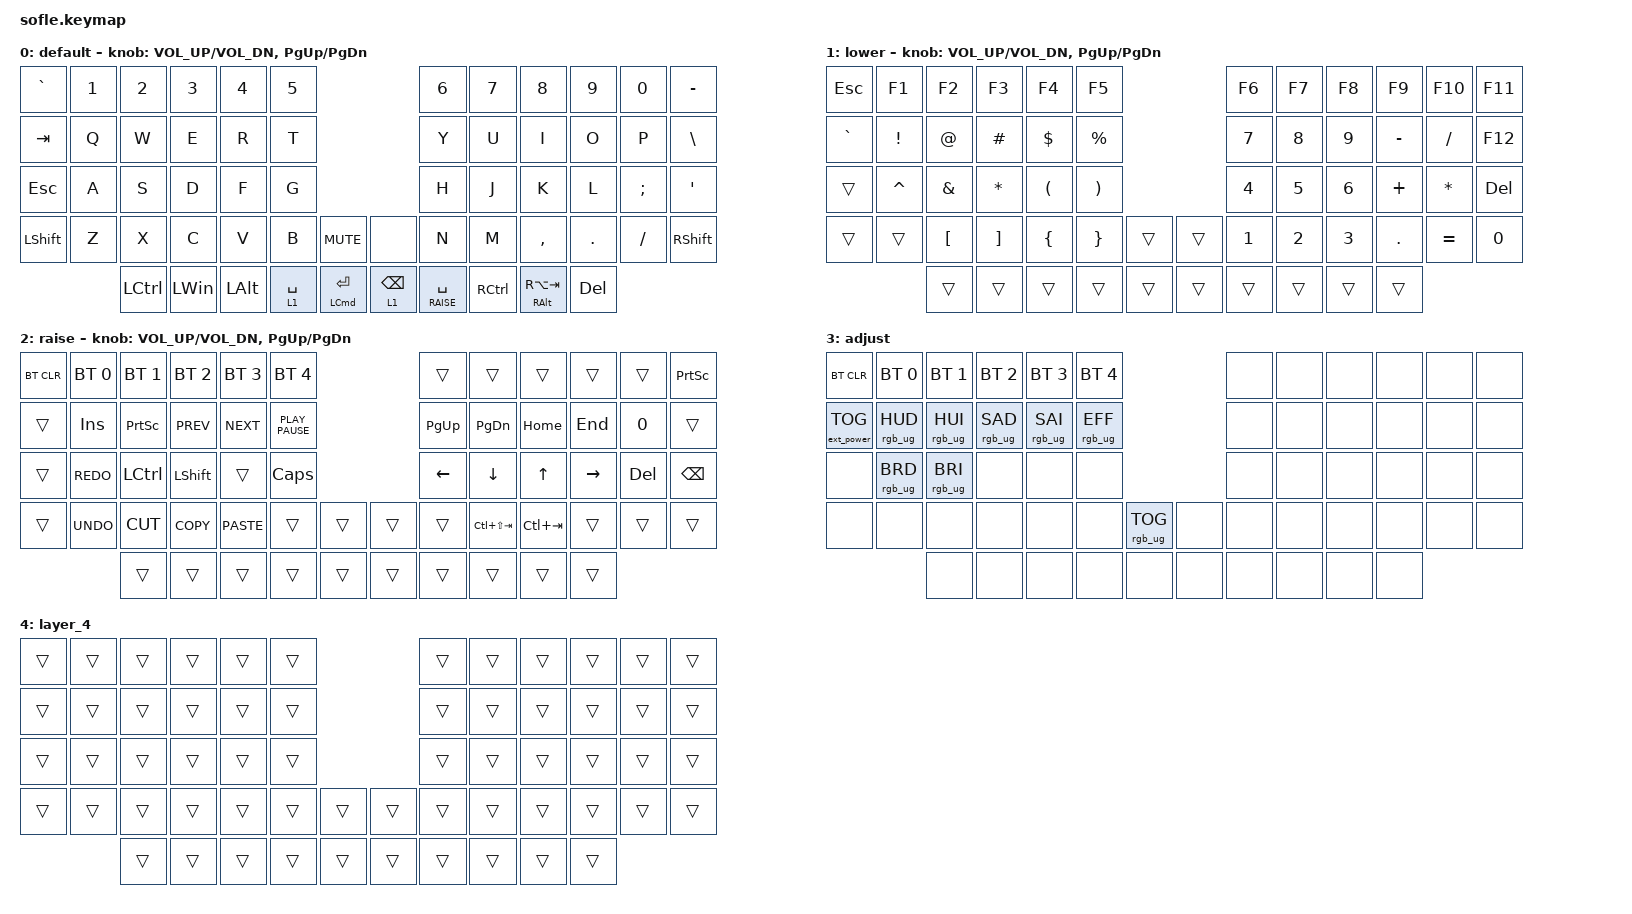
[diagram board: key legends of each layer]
/*
 * Copyright (c) 2020 The ZMK Contributors
 *
 * SPDX-License-Identifier: MIT
 */

#include <behaviors.dtsi>
#include <dt-bindings/zmk/bt.h>
#include <dt-bindings/zmk/ext_power.h>
#include <dt-bindings/zmk/keys.h>
#include <dt-bindings/zmk/rgb.h>

#define BASE 0
#define LOWER 1
#define RAISE 2
#define ADJUST 3

/ {
    // Activate ADJUST layer by pressing raise and lower

    conditional_layers {
        compatible = "zmk,conditional-layers";

        adjust_layer {
            if-layers = <LOWER RAISE>;
            then-layer = <ADJUST>;
        };
    };

    behaviors {
        HoldTap: HoldTap {
            compatible = "zmk,behavior-hold-tap";
            label = "HOLDTAP";
            bindings = <&kp>, <&kp>;

            #binding-cells = <2>;
            tapping-term-ms = <200>;
            flavor = "tap-preferred";
        };

        ToggleTap: ToggleTap {
            compatible = "zmk,behavior-hold-tap";
            label = "TOGGLETAP";
            bindings = <&mo>, <&kp>;

            #binding-cells = <2>;
            tapping-term-ms = <200>;
            flavor = "tap-preferred";
        };
    };

    keymap {
        compatible = "zmk,keymap";

        default_layer {
            label = "default";

            // ------------------------------------------------------------------------------------------------------------
            // |   `   |  1  |  2  |  3   |  4   |  5   |                   |  6   |  7    |  8    |  9   |   0   |       |
            // |  ESC  |  Q  |  W  |  E   |  R   |  T   |                   |  Y   |  U    |  I    |  O   |   P   | BKSPC |
            // |  TAB  |  A  |  S  |  D   |  F   |  G   |                   |  H   |  J    |  K    |  L   |   ;   |   '   |
            // | SHIFT |  Z  |  X  |  C   |  V   |  B   |  MUTE  |  |       |  N   |  M    |  ,    |  .   |   /   | SHIFT |
            //               | GUI | ALT  | CTRL | LOWER|  ENTER |  | SPACE | RAISE| CTRL  | ALT   | GUI  |

            bindings = <
&kp GRAVE  &kp N1  &kp N2            &kp N3        &kp N4        &kp N5                                                             &kp N6                  &kp N7     &kp N8                      &kp N9      &kp N0    &kp MINUS
&kp TAB    &kp Q   &kp W             &kp E         &kp R         &kp T                                                              &kp Y                   &kp U      &kp I                       &kp O       &kp P     &kp BACKSLASH
&kp ESC    &kp A   &kp S             &kp D         &kp F         &kp G                                                              &kp H                   &kp J      &kp K                       &kp L       &kp SEMI  &kp SQT
&kp LSHFT  &kp Z   &kp X             &kp C         &kp V         &kp B               &kp C_MUTE             &none                   &kp N                   &kp M      &kp COMMA                   &kp DOT     &kp FSLH  &kp RIGHT_SHIFT
                   &kp LEFT_CONTROL  &kp LEFT_WIN  &kp LEFT_ALT  &ToggleTap 1 SPACE  &HoldTap LCMD ENTER    &ToggleTap 1 BACKSPACE  &ToggleTap RAISE SPACE  &kp RCTRL  &HoldTap RIGHT_ALT RA(TAB)  &kp DELETE
            >;

            sensor-bindings = <&inc_dec_kp C_VOL_UP C_VOL_DN &inc_dec_kp PG_UP PG_DN>;
        };

        lower_layer {
            label = "lower";

            // TODO: Some binds are waiting for shifted keycode support.
            // ------------------------------------------------------------------------------------------------------------
            // |       |  F1 |  F2 |  F3  |  F4  |  F5  |                   |  F6  |  F7   |  F8   |  F9  |  F10  |  F11  |
            // |   `   |  1  |  2  |  3   |  4   |  5   |                   |  6   |  7    |  8    |  9   |   0   |  F12  |
            // |       |  !  |  @  |  #   |  $   |  %   |                   |  ^   |  &    |  *    |  (   |   )   |   |   |
            // |       |  =  |  -  |  +   |  {   |  }   |        |  |       |  [   |  ]    |  ;    |  :   |   \   |       |
            //               |     |      |      |      |        |  |       |      |       |       |      |

            bindings = <
&kp ESCAPE  &kp F1           &kp F2            &kp F3             &kp F4                &kp F5                                   &kp F6        &kp F7        &kp F8        &kp F9      &kp F10       &kp F11
&kp GRAVE   &kp EXCLAMATION  &kp AT_SIGN       &kp POUND          &kp DOLLAR            &kp PERCENT                              &kp N7        &kp N8        &kp N9        &kp MINUS   &kp SLASH     &kp F12
&trans      &kp CARET        &kp AMPS          &kp STAR           &kp LEFT_PARENTHESIS  &kp RIGHT_PARENTHESIS                    &kp NUMBER_4  &kp N5        &kp NUMBER_6  &kp PLUS    &kp ASTERISK  &kp DELETE
&trans      &trans           &kp LEFT_BRACKET  &kp RIGHT_BRACKET  &kp LBRC              &kp RBRC               &trans    &trans  &kp NUMBER_1  &kp NUMBER_2  &kp NUMBER_3  &kp PERIOD  &kp EQUAL     &kp N0
                             &trans            &trans             &trans                &trans                 &trans    &trans  &trans        &trans        &trans        &trans
            >;

            sensor-bindings = <&inc_dec_kp C_VOL_UP C_VOL_DN &inc_dec_kp PG_UP PG_DN>;
        };

        raise_layer {
            label = "raise";

            // ------------------------------------------------------------------------------------------------------------
            // | BTCLR | BT1  | BT2  |  BT3  |  BT4  |  BT5 |                |      |      |       |      |       |       |
            // |       | INS  | PSCR | GUI   |       |      |                | PGUP |      |   ^   |      |       |       |
            // |       | ALT  | CTRL | SHIFT |       | CAPS |                | PGDN |   <- |   v   |  ->  |  DEL  | BKSPC |
            // |       | UNDO | CUT  | COPY  | PASTE |      |      |  |      |      |      |       |      |       |       |
            //                |      |       |       |      |      |  |      |      |      |       |      |

            bindings = <
&bt BT_CLR  &bt BT_SEL 0  &bt BT_SEL 1  &bt BT_SEL 2  &bt BT_SEL 3  &bt BT_SEL 4                        &trans       &trans           &trans        &trans     &trans   &kp PRINTSCREEN
&trans      &kp INS       &kp PSCRN     &kp K_PREV    &kp K_NEXT    &kp K_PLAY_PAUSE                    &kp PAGE_UP  &kp PAGE_DOWN    &kp HOME      &kp END    &kp N0   &trans
&trans      &kp K_REDO    &kp LCTRL     &kp LSHFT     &trans        &kp CLCK                            &kp LEFT     &kp DOWN_ARROW   &kp UP_ARROW  &kp RIGHT  &kp DEL  &kp BSPC
&trans      &kp K_UNDO    &kp K_CUT     &kp K_COPY    &kp K_PASTE   &trans            &trans    &trans  &trans       &kp LC(LS(TAB))  &kp LC(TAB)   &trans     &trans   &trans
                          &trans        &trans        &trans        &trans            &trans    &trans  &trans       &trans           &trans        &trans
            >;

            sensor-bindings = <&inc_dec_kp C_VOL_UP C_VOL_DN &inc_dec_kp PG_UP PG_DN>;
        };

        adjust_layer {
            // ----------------------------------------------------------------------------------------------------------------------------
            // | BTCLR  |  BT1    |  BT2    |   BT3   |   BT4   |   BT5   |                  |      |      |       |      |       |       |
            // | EXTPWR | RGB_HUD | RGB_HUI | RGB_SAD | RGB_SAI | RGB_EFF |                  |      |      |       |      |       |       |
            // |        | RGB_BRD | RGB_BRI |         |         |         |                  |      |      |       |      |       |       |
            // |        |         |         |         |         |         | RGB_TOG | |      |      |      |       |      |       |       |
            //                    |         |         |         |         |         | |      |      |      |       |      |

            label = "adjust";
            bindings = <
&bt BT_CLR         &bt BT_SEL 0     &bt BT_SEL 1     &bt BT_SEL 2     &bt BT_SEL 3     &bt BT_SEL 4                               &none  &none  &none  &none  &none  &none
&ext_power EP_TOG  &rgb_ug RGB_HUD  &rgb_ug RGB_HUI  &rgb_ug RGB_SAD  &rgb_ug RGB_SAI  &rgb_ug RGB_EFF                            &none  &none  &none  &none  &none  &none
&none              &rgb_ug RGB_BRD  &rgb_ug RGB_BRI  &none            &none            &none                                      &none  &none  &none  &none  &none  &none
&none              &none            &none            &none            &none            &none            &rgb_ug RGB_TOG    &none  &none  &none  &none  &none  &none  &none
                                    &none            &none            &none            &none            &none              &none  &none  &none  &none  &none
            >;
        };

        layer_4 {
            bindings = <
&trans  &trans  &trans  &trans  &trans  &trans                    &trans  &trans  &trans  &trans  &trans  &trans
&trans  &trans  &trans  &trans  &trans  &trans                    &trans  &trans  &trans  &trans  &trans  &trans
&trans  &trans  &trans  &trans  &trans  &trans                    &trans  &trans  &trans  &trans  &trans  &trans
&trans  &trans  &trans  &trans  &trans  &trans  &trans    &trans  &trans  &trans  &trans  &trans  &trans  &trans
                &trans  &trans  &trans  &trans  &trans    &trans  &trans  &trans  &trans  &trans
            >;
        };
    };
};
